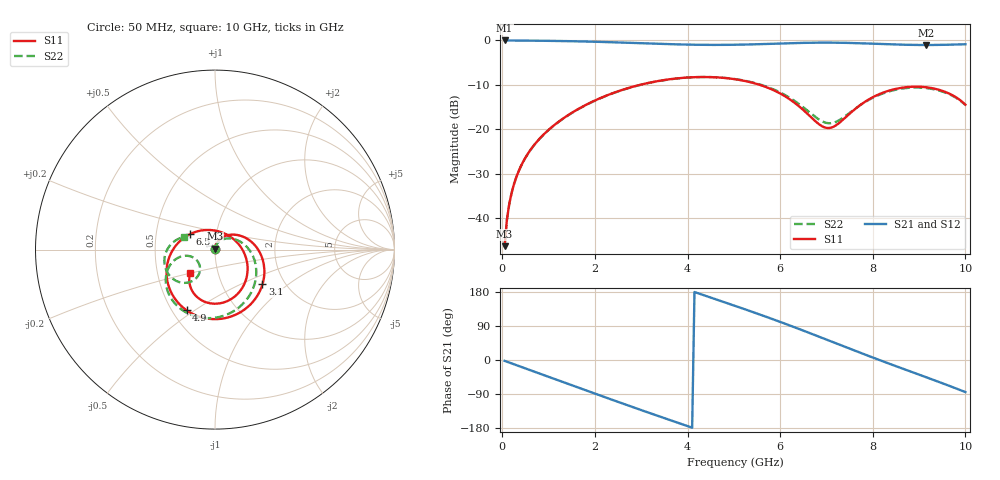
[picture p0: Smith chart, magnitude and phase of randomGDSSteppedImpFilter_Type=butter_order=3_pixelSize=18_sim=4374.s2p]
! freq	dB(S11)	phase(S11)	dB(S12)	phase(S12)
!  dB(S21)	phase(S21)	dB(S22)	phase(S22)
!S-par simulation data
#  GHz  S  DB  R 50
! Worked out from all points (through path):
!   200 points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, 50 MHz to 10 GHz, reference 50 ohm
!   highest |S21| = -0.01 dB at 50 MHz (marker M1); lowest = -1.0 dB at 9.15 GHz (marker M2)
!   group delay of S21, straight-line fit = 123 ps
!   lowest |S11| = -46.3 dB at 50 MHz (marker M3), VSWR 1.01, Z = 50.1 + j0.48 ohm
!   |S11| at or under -10 dB: start of sweep to 2.974 GHz; 5.559 GHz to end of sweep
!   |S22| runs from -46.3 to -8.2 dB; largest |S21 - S12| = 0
!   S11 on the Smith chart (normalised r, x): 50 MHz: 1.00, +0.01; 3.1 GHz: 1.54, -0.67; 4.9 GHz: 0.59, -0.46; 6.5 GHz: 0.74, +0.13; 10 GHz: 0.74, -0.20
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0.05  -46.32 82.5  -0.01 -2.2  -0.01 -2.2  -46.32 81.9
0.1  -40.35 83.2  -0.01 -4.5  -0.01 -4.5  -40.35 81.9
0.2  -34.38 80.7  -0.02 -8.9  -0.02 -8.9  -34.37 78.0
0.5  -26.39 70.3  -0.04 -22.3  -0.04 -22.3  -26.40 63.9
1.15  -18.83 45.7  -0.11 -51.1  -0.11 -51.1  -18.86 32.3
1.75  -14.81 21.3  -0.23 -77.6  -0.23 -77.6  -14.85 3.7
2.4  -11.82 -6.1  -0.42 -106.2  -0.42 -106.2  -11.85 -25.9
3.1  -9.69 -36.2  -0.67 -136.5  -0.67 -136.5  -9.72 -56.2
3.4  -9.08 -49.1  -0.77 -149.2  -0.77 -149.2  -9.10 -68.6
4.15  -8.27 -81.6  -0.97 179.4  -0.97 179.4  -8.28 -98.3
4.9  -8.56 -115.1  -0.99 148.2  -0.99 148.2  -8.53 -126.2
5.05  -8.77 -122.1  -0.97 141.9  -0.97 141.9  -8.73 -131.6
5.85  -11.17 -163.5  -0.75 107.3  -0.75 107.3  -10.99 -157.8
6.5  -15.66 148.9  -0.55 77.6  -0.55 77.6  -15.06 -168.5
6.7  -17.60 126.4  -0.51 68.2  -0.51 68.2  -16.73 -165.5
7.1  -19.64 60.0  -0.50 49.1  -0.50 49.1  -18.63 -142.9
7.55  -16.04 -3.1  -0.58 27.6  -0.58 27.6  -15.90 -123.4
7.95  -13.07 -35.7  -0.72 8.8  -0.72 8.8  -13.18 -126.3
8.35  -11.30 -60.1  -0.87 -9.5  -0.87 -9.5  -11.49 -136.9
9.15  -10.54 -100.1  -1.03 -45.3  -1.03 -45.3  -10.72 -165.7
9.6  -11.73 -120.2  -0.97 -65.8  -0.97 -65.8  -11.88 175.7
10  -14.46 -136.7  -0.86 -84.7  -0.86 -84.7  -14.53 157.9
